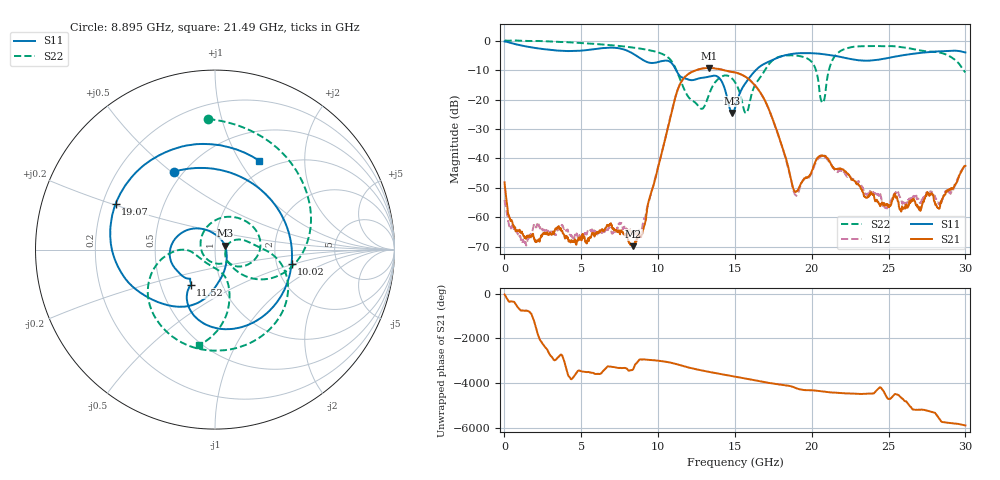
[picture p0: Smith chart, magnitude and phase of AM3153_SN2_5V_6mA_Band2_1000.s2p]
!Agilent Technologies,E8364B,MY43040894,A.07.50.67
!Agilent E8364B: A.07.50.67
!Date: Tuesday, May 12, 2020 09:51:38
!Correction: S11(Full 2 Port(1,2))
!S21(Full 2 Port(1,2))
!S12(Full 2 Port(1,2))
!S22(Full 2 Port(1,2))
!S2P File: Measurements: S11, S21, S12, S22:
# Hz S  dB  R 50
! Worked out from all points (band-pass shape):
!   1601 points, 10 MHz to 30 GHz, reference 50 ohm
!   highest |S21| = -9.28 dB at 13.32 GHz (marker M1); lowest = -69.8 dB at 8.388 GHz (marker M2)
!   |S21| within 3 dB of the highest: 11.76 GHz to 15.69 GHz (3.935 GHz wide, 28.7 % of centre)
!   lowest |S11| = -24.5 dB at 14.84 GHz (marker M3), VSWR 1.13, Z = 55.8 + j2.36 ohm
!   |S11| at or under -10 dB: 11.17 GHz to 16.36 GHz (5.191 GHz wide, 37.7 % of centre)
!   |S22| runs from -24.6 to 0.1 dB; largest |S21 - S12| = 0.0074
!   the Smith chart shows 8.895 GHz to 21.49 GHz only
!   S11 on the Smith chart (normalised r, x): 8.895 GHz: 0.45, +0.51; 10.02 GHz: 2.43, -0.46; 11.52 GHz: 0.71, -0.30; 19.07 GHz: 0.25, +0.20; 21.49 GHz: 0.86, +1.22
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1e7  -0.27 -6.7  -48.12 -45.4  -54.11 -99.2  0.05 -1.5
1.022162e9  -1.57 -84.3  -65.02 -15.5  -66.58 96.4  -0.03 -30.4
2.334225e9  -2.74 -168.3  -67.07 61.9  -63.50 -57.9  -0.14 -69.1
5.014581e9  -3.39 43.0  -67.83 120.8  -67.15 70.6  -0.82 -145.9
7.001419e9  -2.38 -83.2  -63.37 -37.4  -65.47 -37.9  -1.60 156.5
8.388456e9  -4.49 167.3  -69.79 -135.5  -66.05 -5.3  -2.35 111.4
8.894538e9  -6.19 117.7  -66.69 -67.0  -64.35 -81.6  -2.75 93.0
1.001916e10  -7.25 -10.3  -42.63 -124.9  -42.42 -125.8  -4.03 43.2
1.151866e10  -12.40 -124.5  -13.88 18.1  -13.83 17.4  -14.32 -43.4
1.331806e10  -12.21 -153.8  -9.28 95.7  -9.18 95.2  -18.22 118.0
1.483631e10  -24.54 20.8  -10.64 -90.5  -10.68 -91.4  -12.97 -15.5
1.5005e10  -22.93 -23.8  -10.80 -111.2  -10.84 -112.0  -14.09 -25.8
1.573601e10  -14.05 -87.4  -12.44 154.4  -12.41 154.0  -24.59 -5.5
1.751666e10  -6.40 -149.7  -27.50 -69.5  -27.67 -71.5  -6.44 -31.8
1.907239e10  -4.31 155.5  -50.96 65.2  -52.20 60.7  -5.13 -106.1
2.000958e10  -4.28 121.9  -44.21 -4.5  -44.67 -8.9  -7.31 -150.1
2.07031e10  -4.56 95.8  -39.00 -61.6  -39.14 -62.8  -21.06 -125.4
2.149034e10  -5.15 63.4  -43.53 -111.4  -43.84 -112.2  -5.36 -99.3
2.298984e10  -6.63 -10.1  -48.81 -163.1  -47.99 -166.8  -1.97 -167.3
2.501416e10  -5.84 -121.9  -56.37 -30.5  -55.27 -131.3  -1.87 134.9
2.690728e10  -4.27 160.3  -56.51 -154.0  -53.64 -93.1  -3.17 87.4
3e10  -4.01 78.5  -42.51 -139.2  -42.80 -142.9  -10.77 -9.4
